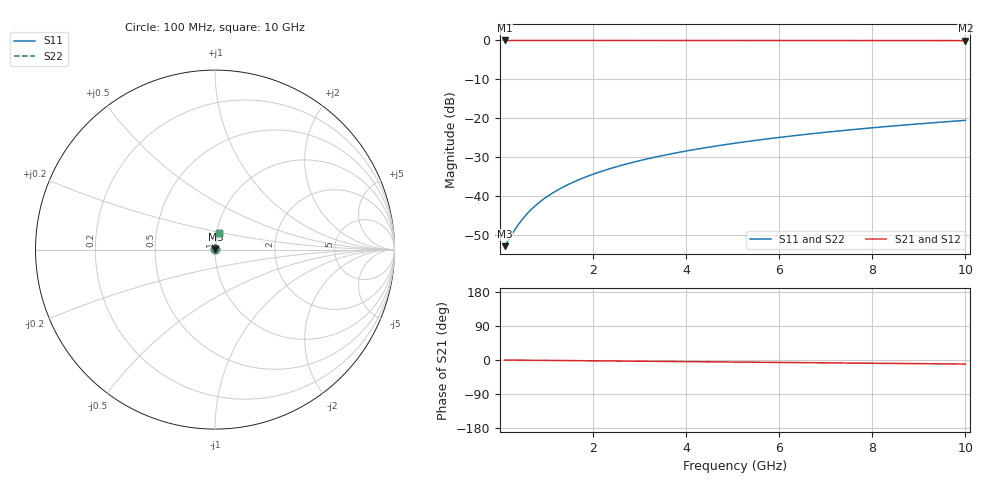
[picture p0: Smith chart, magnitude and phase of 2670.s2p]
# Hz S RI R 50.00
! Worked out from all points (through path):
!   100 points, 100 MHz to 10 GHz, reference 50 ohm
!   highest |S21| = -0.02 dB at 100 MHz (marker M1); lowest = -0.1 dB at 10 GHz (marker M2)
!   group delay of S21, straight-line fit = 2.97 ps
!   lowest |S11| = -53.0 dB at 100 MHz (marker M3), VSWR 1.00, Z = 50.2 + j0.0941 ohm
!   |S11| at or under -10 dB: start of sweep to end of sweep
!   |S22| runs from -53.0 to -20.6 dB; largest |S21 - S12| = 0
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1e8  0.00204 0.000937  0.998 -0.00186  0.998 -0.00186  0.00204 0.000937
3e8  0.00208 0.00281  0.9979 -0.00558  0.9979 -0.00558  0.00208 0.00281
4e8  0.0021 0.00375  0.9979 -0.00744  0.9979 -0.00744  0.0021 0.00375
5e8  0.00212 0.00468  0.9979 -0.0093  0.9979 -0.0093  0.00212 0.00468
6e8  0.00214 0.00562  0.9978 -0.0112  0.9978 -0.0112  0.00214 0.00562
7e8  0.00217 0.00656  0.9978 -0.013  0.9978 -0.013  0.00217 0.00656
8e8  0.0022 0.00749  0.9978 -0.0149  0.9978 -0.0149  0.0022 0.00749
1e9  0.00227 0.00936  0.9977 -0.0186  0.9977 -0.0186  0.00227 0.00936
1.2e9  0.00236 0.0112  0.9976 -0.0223  0.9976 -0.0223  0.00236 0.0112
1.5e9  0.00251 0.014  0.9974 -0.0279  0.9974 -0.0279  0.00251 0.014
1.8e9  0.00269 0.0168  0.9972 -0.0335  0.9972 -0.0335  0.00269 0.0168
2.1e9  0.0029 0.0196  0.9969 -0.0391  0.9969 -0.0391  0.0029 0.0196
2.5e9  0.00323 0.0234  0.9965 -0.0465  0.9965 -0.0465  0.00323 0.0234
2.9e9  0.00362 0.0271  0.996 -0.0539  0.996 -0.0539  0.00362 0.0271
3.4e9  0.00418 0.0318  0.9953 -0.0632  0.9953 -0.0632  0.00418 0.0318
4.2e9  0.00525 0.0392  0.994 -0.078  0.994 -0.078  0.00525 0.0392
5.1e9  0.00672 0.0475  0.9921 -0.0947  0.9921 -0.0947  0.00672 0.0475
5.9e9  0.00826 0.0548  0.9902 -0.1094  0.9902 -0.1094  0.00826 0.0548
6.7e9  0.01 0.0621  0.988 -0.1241  0.988 -0.1241  0.01 0.0621
7.5e9  0.012 0.0693  0.9855 -0.1388  0.9855 -0.1388  0.012 0.0693
8.4e9  0.0145 0.0773  0.9824 -0.1552  0.9824 -0.1552  0.0145 0.0773
1e10  0.0195 0.0914  0.9761 -0.1841  0.9761 -0.1841  0.0195 0.0914
